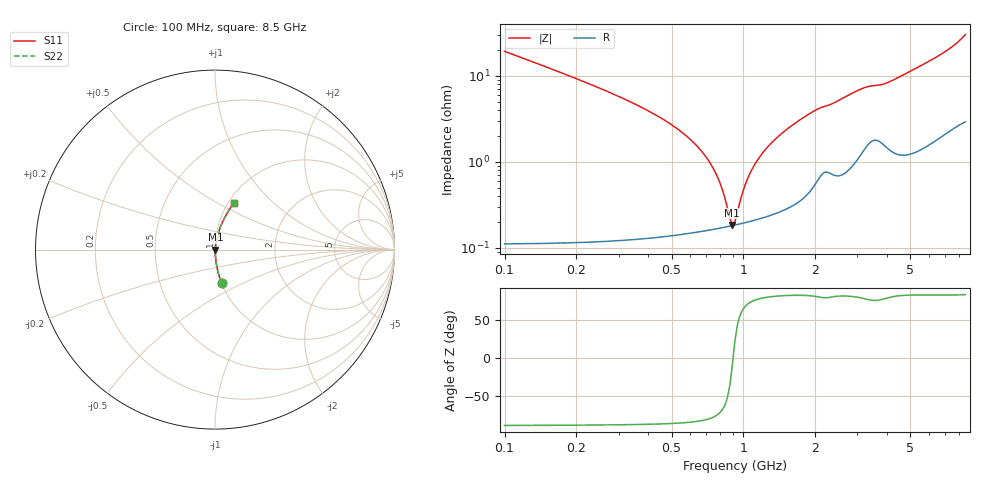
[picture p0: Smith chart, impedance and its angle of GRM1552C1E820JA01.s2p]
!Murata Part Number: GRM1552C1E820JA01
!These Parameters are Measured in Series Mode Connection
!Data Generated on Mar 30, 2021
!  o--ll--o
!Port1  Port2
!  o------o
!Operation Temp=25[degC], DC Bias Voltage=0[V]
!Freq. Start=100[MHz] Stop=9[GHz] 401[Steps]
# Hz S RI R 50
!Freq.(Hz) S11(Real) S11(Imag) S21(Real) S21(Imag) S12(Real) S12(Imag) S22(Real) S22(Imag)
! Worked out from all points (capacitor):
!   401 points, 100 MHz to 8.5 GHz, reference 50 ohm
!   read as one part in series: C = 82 pF near 142 MHz
!   lowest |Z| = 185 mohm at 898 MHz (marker M1)
!   series resonance near 904.8 MHz, so ESL is about 380 pH
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1e8  0.0364 -0.1845  0.9636 0.1845  0.9636 0.1845  0.0364 -0.1845
2.68e8  0.00552 -0.0656  0.9945 0.0656  0.9945 0.0656  0.00552 -0.0656
5.83e8  0.00184 -0.0194  0.9982 0.0194  0.9982 0.0194  0.00184 -0.0194
6.88e8  0.00171 -0.0118  0.9983 0.0118  0.9983 0.0118  0.00171 -0.0118
7.72e8  0.00171 -0.00681  0.9983 0.00681  0.9983 0.00681  0.00171 -0.00681
8.56e8  0.00177 -0.00237  0.9982 0.00237  0.9982 0.00237  0.00177 -0.00237
8.77e8  0.00179 -0.00133  0.9982 0.00133  0.9982 0.00133  0.00179 -0.00133
8.98e8  0.00181 -0.000322  0.9982 0.000322  0.9982 0.000322  0.00181 -0.000322
9.19e8  0.00184 0.000666  0.9982 -0.000666  0.9982 -0.000666  0.00184 0.000666
9.4e8  0.00187 0.00163  0.9981 -0.00163  0.9981 -0.00163  0.00187 0.00163
1.024e9  0.002 0.00531  0.998 -0.00531  0.998 -0.00531  0.002 0.00531
1.066e9  0.00208 0.00706  0.9979 -0.00706  0.9979 -0.00706  0.00208 0.00706
1.129e9  0.00221 0.00957  0.9978 -0.00957  0.9978 -0.00957  0.00221 0.00957
1.297e9  0.00263 0.0158  0.9974 -0.0158  0.9974 -0.0158  0.00263 0.0158
1.507e9  0.00334 0.0231  0.9967 -0.0231  0.9967 -0.0231  0.00334 0.0231
2.011e9  0.00715 0.0391  0.9928 -0.0391  0.9928 -0.0391  0.00715 0.0391
2.914e9  0.0133 0.0624  0.9867 -0.0624  0.9867 -0.0624  0.0133 0.0624
3.25e9  0.0193 0.0696  0.9807 -0.0696  0.9807 -0.0696  0.0193 0.0696
4.3e9  0.0201 0.087  0.9799 -0.087  0.9799 -0.087  0.0201 0.087
5.707e9  0.0317 0.1299  0.9683 -0.1299  0.9683 -0.1299  0.0317 0.1299
7.114e9  0.0557 0.1806  0.9443 -0.1806  0.9443 -0.1806  0.0557 0.1806
8.5e9  0.1042 0.2608  0.8958 -0.2608  0.8958 -0.2608  0.1042 0.2608
